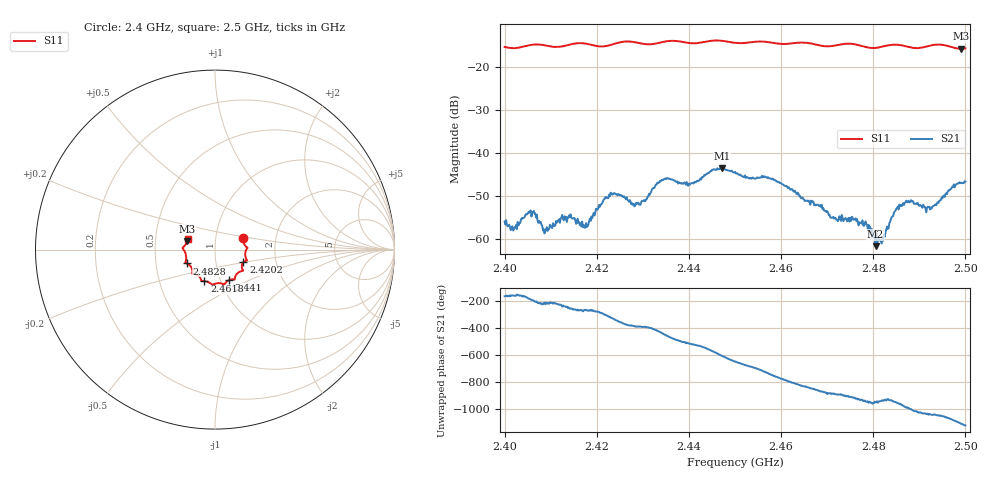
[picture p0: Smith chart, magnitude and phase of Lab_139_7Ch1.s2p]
# Hz S RI R 50
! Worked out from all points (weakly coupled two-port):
!   601 points, 2.4 GHz to 2.5 GHz, reference 50 ohm
!   highest |S21| = -43.52 dB at 2.4472 GHz (marker M1); lowest = -61.7 dB at 2.4805 GHz (marker M2)
!   lowest |S11| = -15.8 dB at 2.499 GHz (marker M3), VSWR 1.38, Z = 36.5 + j3.48 ohm
!   |S11| at or under -10 dB: start of sweep to end of sweep
!   S12 and S22 are empty: the file has one direction only
!   S11 on the Smith chart (normalised r, x): 2.4 GHz: 1.36, +0.18; 2.4202 GHz: 1.36, -0.20; 2.441 GHz: 1.10, -0.39; 2.4618 GHz: 0.84, -0.30; 2.4828 GHz: 0.72, -0.12; 2.5 GHz: 0.73, +0.09
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2.4e9  0.1573 0.0631  -0.00153 -0.000441  0 0  0 0
2.401833e9  0.1592 0.041  -0.00117 -0.000451  0 0  0 0
2.405833e9  0.1789 0.0121  -0.00177 0.000371  0 0  0 0
2.408833e9  0.1766 0.00335  -0.00094 0.000869  0 0  0 0
2.412833e9  0.1694 -0.0382  -0.000863 0.0014  0 0  0 0
2.416667e9  0.1778 -0.0601  -0.00011 0.00139  0 0  0 0
2.420167e9  0.1581 -0.0709  0.000279 0.00216  0 0  0 0
2.4235e9  0.1507 -0.1024  0.00282 0.00168  0 0  0 0
2.429167e9  0.1443 -0.1208  0.00221 -0.00115  0 0  0 0
2.433333e9  0.1121 -0.1511  0.00202 -0.00394  0 0  0 0
2.441e9  0.0786 -0.1697  -0.00417 -0.00137  0 0  0 0
2.447167e9  0.0478 -0.194  -0.00282 0.00605  0 0  0 0
2.45e9  0.0285 -0.1871  0.00191 0.00567  0 0  0 0
2.461833e9  -0.0594 -0.1758  0.000736 -0.00379  0 0  0 0
2.466667e9  -0.0778 -0.1681  -0.00162 -0.00213  0 0  0 0
2.4805e9  -0.1387 -0.0897  -0.000525 0.00063  0 0  0 0
2.482833e9  -0.1575 -0.0774  -0.00102 0.000764  0 0  0 0
2.483333e9  -0.1605 -0.076  -0.00115 0.000672  0 0  0 0
2.486833e9  -0.1625 -0.0618  -0.000349 0.00259  0 0  0 0
2.492667e9  -0.1773 0.00266  0.00175 0.00139  0 0  0 0
2.499e9  -0.1545 0.0465  0.00393 -0.00207  0 0  0 0
2.5e9  -0.1515 0.061  0.00346 -0.00306  0 0  0 0
